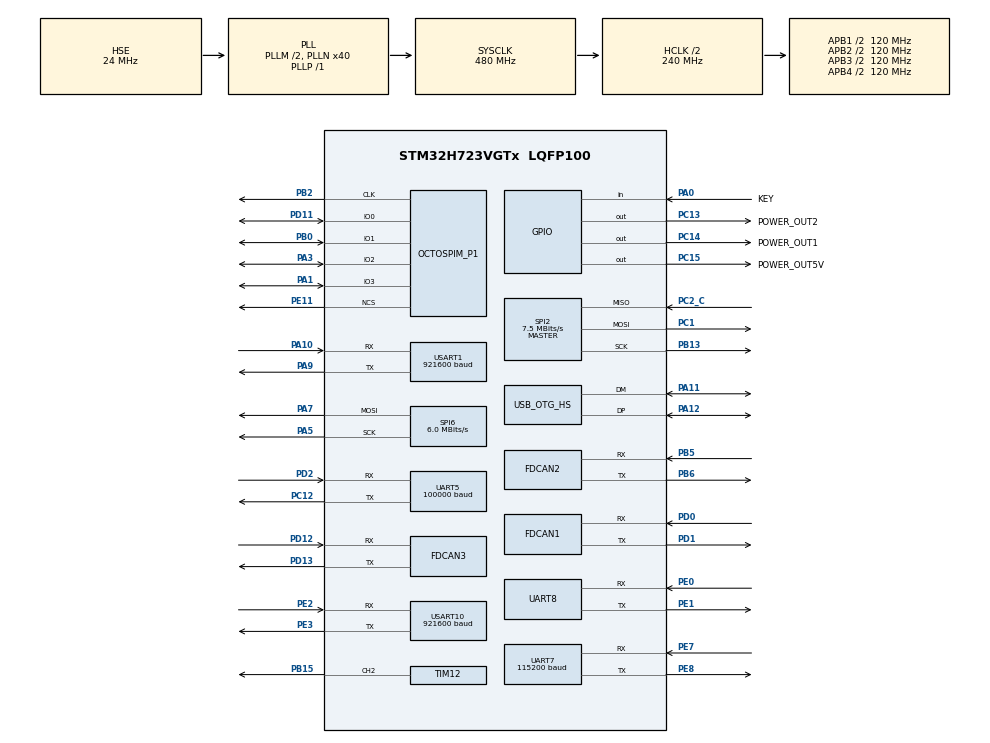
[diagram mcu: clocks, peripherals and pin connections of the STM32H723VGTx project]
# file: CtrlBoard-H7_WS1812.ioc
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Dma.Request0=UART7_RX
Dma.Request1=UART7_TX
Dma.Request2=USART1_RX
Dma.Request3=USART1_TX
Dma.Request4=UART5_RX
Dma.Request5=SPI2_RX
Dma.Request6=SPI2_TX
Dma.Request7=USART10_RX
Dma.Request8=USART10_TX
Dma.Request9=UART8_TX
Dma.SPI2_RX.5.Direction=DMA_PERIPH_TO_MEMORY
Dma.SPI2_RX.5.EventEnable=DISABLE
Dma.SPI2_RX.5.FIFOMode=DMA_FIFOMODE_DISABLE
Dma.SPI2_RX.5.Instance=DMA1_Stream0
Dma.SPI2_RX.5.MemDataAlignment=DMA_MDATAALIGN_BYTE
Dma.SPI2_RX.5.MemInc=DMA_MINC_ENABLE
Dma.SPI2_RX.5.Mode=DMA_NORMAL
Dma.SPI2_RX.5.PeriphDataAlignment=DMA_PDATAALIGN_BYTE
Dma.SPI2_RX.5.PeriphInc=DMA_PINC_DISABLE
Dma.SPI2_RX.5.Polarity=HAL_DMAMUX_REQ_GEN_RISING
Dma.SPI2_RX.5.Priority=DMA_PRIORITY_VERY_HIGH
Dma.SPI2_RX.5.RequestNumber=1
Dma.SPI2_RX.5.SignalID=NONE
Dma.SPI2_RX.5.SyncEnable=DISABLE
Dma.SPI2_RX.5.SyncPolarity=HAL_DMAMUX_SYNC_NO_EVENT
Dma.SPI2_RX.5.SyncRequestNumber=1
Dma.SPI2_RX.5.SyncSignalID=NONE
Dma.SPI2_TX.6.Direction=DMA_MEMORY_TO_PERIPH
Dma.SPI2_TX.6.EventEnable=DISABLE
Dma.SPI2_TX.6.FIFOMode=DMA_FIFOMODE_DISABLE
Dma.SPI2_TX.6.Instance=DMA1_Stream1
Dma.SPI2_TX.6.MemDataAlignment=DMA_MDATAALIGN_BYTE
Dma.SPI2_TX.6.MemInc=DMA_MINC_ENABLE
Dma.SPI2_TX.6.Mode=DMA_NORMAL
Dma.SPI2_TX.6.PeriphDataAlignment=DMA_PDATAALIGN_BYTE
Dma.SPI2_TX.6.PeriphInc=DMA_PINC_DISABLE
Dma.SPI2_TX.6.Polarity=HAL_DMAMUX_REQ_GEN_RISING
Dma.SPI2_TX.6.Priority=DMA_PRIORITY_HIGH
Dma.SPI2_TX.6.RequestNumber=1
Dma.SPI2_TX.6.SignalID=NONE
Dma.SPI2_TX.6.SyncEnable=DISABLE
Dma.SPI2_TX.6.SyncPolarity=HAL_DMAMUX_SYNC_NO_EVENT
Dma.SPI2_TX.6.SyncRequestNumber=1
Dma.SPI2_TX.6.SyncSignalID=NONE
Dma.UART5_RX.4.Direction=DMA_PERIPH_TO_MEMORY
Dma.UART5_RX.4.EventEnable=DISABLE
Dma.UART5_RX.4.FIFOMode=DMA_FIFOMODE_DISABLE
Dma.UART5_RX.4.Instance=DMA1_Stream4
Dma.UART5_RX.4.MemDataAlignment=DMA_MDATAALIGN_BYTE
Dma.UART5_RX.4.MemInc=DMA_MINC_ENABLE
Dma.UART5_RX.4.Mode=DMA_NORMAL
Dma.UART5_RX.4.PeriphDataAlignment=DMA_PDATAALIGN_BYTE
Dma.UART5_RX.4.PeriphInc=DMA_PINC_DISABLE
Dma.UART5_RX.4.Polarity=HAL_DMAMUX_REQ_GEN_RISING
Dma.UART5_RX.4.Priority=DMA_PRIORITY_VERY_HIGH
Dma.UART5_RX.4.RequestNumber=1
Dma.UART5_RX.4.SignalID=NONE
Dma.UART5_RX.4.SyncEnable=DISABLE
Dma.UART5_RX.4.SyncPolarity=HAL_DMAMUX_SYNC_NO_EVENT
Dma.UART5_RX.4.SyncRequestNumber=1
Dma.UART5_RX.4.SyncSignalID=NONE
Dma.UART7_RX.0.Direction=DMA_PERIPH_TO_MEMORY
Dma.UART7_RX.0.EventEnable=DISABLE
Dma.UART7_RX.0.FIFOMode=DMA_FIFOMODE_DISABLE
Dma.UART7_RX.0.Instance=DMA2_Stream0
Dma.UART7_RX.0.MemDataAlignment=DMA_MDATAALIGN_BYTE
Dma.UART7_RX.0.MemInc=DMA_MINC_ENABLE
Dma.UART7_RX.0.Mode=DMA_NORMAL
Dma.UART7_RX.0.PeriphDataAlignment=DMA_PDATAALIGN_BYTE
Dma.UART7_RX.0.PeriphInc=DMA_PINC_DISABLE
Dma.UART7_RX.0.Polarity=HAL_DMAMUX_REQ_GEN_RISING
Dma.UART7_RX.0.Priority=DMA_PRIORITY_HIGH
Dma.UART7_RX.0.RequestNumber=1
Dma.UART7_RX.0.SignalID=NONE
Dma.UART7_RX.0.SyncEnable=DISABLE
Dma.UART7_RX.0.SyncPolarity=HAL_DMAMUX_SYNC_NO_EVENT
Dma.UART7_RX.0.SyncRequestNumber=1
Dma.UART7_RX.0.SyncSignalID=NONE
Dma.UART7_TX.1.Direction=DMA_MEMORY_TO_PERIPH
Dma.UART7_TX.1.EventEnable=DISABLE
Dma.UART7_TX.1.FIFOMode=DMA_FIFOMODE_DISABLE
Dma.UART7_TX.1.Instance=DMA1_Stream2
Dma.UART7_TX.1.MemDataAlignment=DMA_MDATAALIGN_BYTE
Dma.UART7_TX.1.MemInc=DMA_MINC_ENABLE
Dma.UART7_TX.1.Mode=DMA_NORMAL
Dma.UART7_TX.1.PeriphDataAlignment=DMA_PDATAALIGN_BYTE
Dma.UART7_TX.1.PeriphInc=DMA_PINC_DISABLE
Dma.UART7_TX.1.Polarity=HAL_DMAMUX_REQ_GEN_RISING
Dma.UART7_TX.1.Priority=DMA_PRIORITY_MEDIUM
Dma.UART7_TX.1.RequestNumber=1
Dma.UART7_TX.1.SignalID=NONE
Dma.UART7_TX.1.SyncEnable=DISABLE
Dma.UART7_TX.1.SyncPolarity=HAL_DMAMUX_SYNC_NO_EVENT
Dma.UART7_TX.1.SyncRequestNumber=1
Dma.UART7_TX.1.SyncSignalID=NONE
Dma.UART8_TX.9.Direction=DMA_MEMORY_TO_PERIPH
Dma.UART8_TX.9.EventEnable=DISABLE
Dma.UART8_TX.9.FIFOMode=DMA_FIFOMODE_DISABLE
Dma.UART8_TX.9.Instance=DMA1_Stream7
Dma.UART8_TX.9.MemDataAlignment=DMA_MDATAALIGN_BYTE
Dma.UART8_TX.9.MemInc=DMA_MINC_ENABLE
Dma.UART8_TX.9.Mode=DMA_NORMAL
Dma.UART8_TX.9.PeriphDataAlignment=DMA_PDATAALIGN_BYTE
Dma.UART8_TX.9.PeriphInc=DMA_PINC_DISABLE
Dma.UART8_TX.9.Polarity=HAL_DMAMUX_REQ_GEN_RISING
Dma.UART8_TX.9.Priority=DMA_PRIORITY_LOW
Dma.UART8_TX.9.RequestNumber=1
Dma.UART8_TX.9.SignalID=NONE
Dma.UART8_TX.9.SyncEnable=DISABLE
Dma.UART8_TX.9.SyncPolarity=HAL_DMAMUX_SYNC_NO_EVENT
Dma.UART8_TX.9.SyncRequestNumber=1
Dma.UART8_TX.9.SyncSignalID=NONE
Dma.USART10_RX.7.Direction=DMA_PERIPH_TO_MEMORY
Dma.USART10_RX.7.EventEnable=DISABLE
Dma.USART10_RX.7.FIFOMode=DMA_FIFOMODE_DISABLE
Dma.USART10_RX.7.Instance=DMA1_Stream5
Dma.USART10_RX.7.MemDataAlignment=DMA_MDATAALIGN_BYTE
Dma.USART10_RX.7.MemInc=DMA_MINC_ENABLE
Dma.USART10_RX.7.Mode=DMA_NORMAL
Dma.USART10_RX.7.PeriphDataAlignment=DMA_PDATAALIGN_BYTE
Dma.USART10_RX.7.PeriphInc=DMA_PINC_DISABLE
Dma.USART10_RX.7.Polarity=HAL_DMAMUX_REQ_GEN_RISING
Dma.USART10_RX.7.Priority=DMA_PRIORITY_HIGH
Dma.USART10_RX.7.RequestNumber=1
Dma.USART10_RX.7.SignalID=NONE
Dma.USART10_RX.7.SyncEnable=DISABLE
Dma.USART10_RX.7.SyncPolarity=HAL_DMAMUX_SYNC_NO_EVENT
Dma.USART10_RX.7.SyncRequestNumber=1
Dma.USART10_RX.7.SyncSignalID=NONE
Dma.USART10_TX.8.Direction=DMA_MEMORY_TO_PERIPH
Dma.USART10_TX.8.EventEnable=DISABLE
Dma.USART10_TX.8.FIFOMode=DMA_FIFOMODE_DISABLE
Dma.USART10_TX.8.Instance=DMA1_Stream6
Dma.USART10_TX.8.MemDataAlignment=DMA_MDATAALIGN_BYTE
Dma.USART10_TX.8.MemInc=DMA_MINC_ENABLE
Dma.USART10_TX.8.Mode=DMA_NORMAL
Dma.USART10_TX.8.PeriphDataAlignment=DMA_PDATAALIGN_BYTE
Dma.USART10_TX.8.PeriphInc=DMA_PINC_DISABLE
Dma.USART10_TX.8.Polarity=HAL_DMAMUX_REQ_GEN_RISING
Dma.USART10_TX.8.Priority=DMA_PRIORITY_MEDIUM
Dma.USART10_TX.8.RequestNumber=1
Dma.USART10_TX.8.SignalID=NONE
Dma.USART10_TX.8.SyncEnable=DISABLE
Dma.USART10_TX.8.SyncPolarity=HAL_DMAMUX_SYNC_NO_EVENT
Dma.USART10_TX.8.SyncRequestNumber=1
Dma.USART10_TX.8.SyncSignalID=NONE
Dma.USART1_RX.2.Direction=DMA_PERIPH_TO_MEMORY
Dma.USART1_RX.2.EventEnable=DISABLE
Dma.USART1_RX.2.FIFOMode=DMA_FIFOMODE_DISABLE
Dma.USART1_RX.2.Instance=DMA2_Stream1
Dma.USART1_RX.2.MemDataAlignment=DMA_MDATAALIGN_BYTE
Dma.USART1_RX.2.MemInc=DMA_MINC_ENABLE
Dma.USART1_RX.2.Mode=DMA_NORMAL
Dma.USART1_RX.2.PeriphDataAlignment=DMA_PDATAALIGN_BYTE
Dma.USART1_RX.2.PeriphInc=DMA_PINC_DISABLE
Dma.USART1_RX.2.Polarity=HAL_DMAMUX_REQ_GEN_RISING
Dma.USART1_RX.2.Priority=DMA_PRIORITY_LOW
Dma.USART1_RX.2.RequestNumber=1
Dma.USART1_RX.2.SignalID=NONE
Dma.USART1_RX.2.SyncEnable=DISABLE
Dma.USART1_RX.2.SyncPolarity=HAL_DMAMUX_SYNC_NO_EVENT
Dma.USART1_RX.2.SyncRequestNumber=1
Dma.USART1_RX.2.SyncSignalID=NONE
Dma.USART1_TX.3.Direction=DMA_MEMORY_TO_PERIPH
Dma.USART1_TX.3.EventEnable=DISABLE
Dma.USART1_TX.3.FIFOMode=DMA_FIFOMODE_DISABLE
Dma.USART1_TX.3.Instance=DMA1_Stream3
Dma.USART1_TX.3.MemDataAlignment=DMA_MDATAALIGN_BYTE
Dma.USART1_TX.3.MemInc=DMA_MINC_ENABLE
Dma.USART1_TX.3.Mode=DMA_NORMAL
Dma.USART1_TX.3.PeriphDataAlignment=DMA_PDATAALIGN_BYTE
Dma.USART1_TX.3.PeriphInc=DMA_PINC_DISABLE
Dma.USART1_TX.3.Polarity=HAL_DMAMUX_REQ_GEN_RISING
Dma.USART1_TX.3.Priority=DMA_PRIORITY_LOW
Dma.USART1_TX.3.RequestNumber=1
Dma.USART1_TX.3.SignalID=NONE
Dma.USART1_TX.3.SyncEnable=DISABLE
Dma.USART1_TX.3.SyncPolarity=HAL_DMAMUX_SYNC_NO_EVENT
Dma.USART1_TX.3.SyncRequestNumber=1
Dma.USART1_TX.3.SyncSignalID=NONE
FDCAN1.AutoRetransmission=DISABLE
FDCAN1.CalculateBaudRateNominal=1000000
FDCAN1.CalculateTimeBitNominal=1000
FDCAN1.CalculateTimeQuantumNominal=40.0
FDCAN1.DataPrescaler=3
FDCAN1.DataSyncJumpWidth=10
FDCAN1.DataTimeSeg1=29
FDCAN1.DataTimeSeg2=10
FDCAN1.ExtFiltersNbr=0
FDCAN1.FrameFormat=FDCAN_FRAME_CLASSIC
FDCAN1.NominalPrescaler=4
FDCAN1.NominalSyncJumpWidth=10
FDCAN1.NominalTimeSeg1=19
FDCAN1.NominalTimeSeg2=5
FDCAN1.ProtocolException=ENABLE
FDCAN1.RxBuffersNbr=0
FDCAN1.RxFifo0ElmtsNbr=8
FDCAN1.RxFifo1ElmtsNbr=0
FDCAN1.StdFiltersNbr=1
FDCAN1.TxBuffersNbr=0
FDCAN1.TxEventsNbr=0
FDCAN1.TxFifoQueueElmtsNbr=8
FDCAN2.AutoRetransmission=DISABLE
FDCAN2.CalculateBaudRateNominal=1000000
FDCAN2.CalculateTimeBitNominal=1000
FDCAN2.CalculateTimeQuantumNominal=50.0
FDCAN2.DataPrescaler=5
FDCAN2.DataSyncJumpWidth=1
FDCAN2.DataTimeSeg1=14
FDCAN2.DataTimeSeg2=5
FDCAN2.ExtFiltersNbr=0
FDCAN2.MessageRAMOffset=854
FDCAN2.Mode=FDCAN_MODE_NORMAL
FDCAN2.NominalPrescaler=5
FDCAN2.NominalSyncJumpWidth=1
FDCAN2.NominalTimeSeg1=14
FDCAN2.NominalTimeSeg2=5
FDCAN2.ProtocolException=DISABLE
FDCAN2.RxBuffersNbr=0
FDCAN2.RxFifo0ElmtsNbr=8
FDCAN2.RxFifo1ElmtsNbr=8
FDCAN2.StdFiltersNbr=5
FDCAN2.TxBuffersNbr=0
FDCAN2.TxElmtSize=FDCAN_DATA_BYTES_16
FDCAN2.TxEventsNbr=0
FDCAN2.TxFifoQueueElmtsNbr=8
FDCAN3.AutoRetransmission=DISABLE
FDCAN3.CalculateBaudRateNominal=1000000
FDCAN3.CalculateTimeBitNominal=1000
FDCAN3.CalculateTimeQuantumNominal=50.0
FDCAN3.DataSyncJumpWidth=1
FDCAN3.DataTimeSeg1=14
FDCAN3.DataTimeSeg2=5
FDCAN3.ExtFiltersNbr=0
FDCAN3.MessageRAMOffset=0x812
FDCAN3.NominalPrescaler=5
FDCAN3.NominalSyncJumpWidth=1
FDCAN3.NominalTimeSeg1=14
FDCAN3.NominalTimeSeg2=5
FDCAN3.ProtocolException=DISABLE
FDCAN3.RxBuffersNbr=0
FDCAN3.RxFifo0ElmtsNbr=8
FDCAN3.RxFifo1ElmtsNbr=8
FDCAN3.StdFiltersNbr=1
FDCAN3.TxBuffersNbr=0
FDCAN3.TxEventsNbr=0
FDCAN3.TxFifoQueueElmtsNbr=8
FREERTOS.Tasks01=defaultTask,24,128,StartDefaultTask,Default,NULL,Dynamic,NULL,NULL
FREERTOS.configENABLE_FPU=1
Mcu.Family=STM32H7
Mcu.Name=STM32H723VGTx
Mcu.Package=LQFP100
NVIC.DMA1_Stream0_IRQn=true\:5\:0\:false\:false\:true\:true\:true\:true\:true
NVIC.DMA1_Stream1_IRQn=true\:5\:0\:false\:false\:true\:true\:true\:true\:true
NVIC.DMA1_Stream2_IRQn=true\:5\:0\:false\:false\:true\:true\:true\:true\:true
NVIC.DMA1_Stream3_IRQn=true\:5\:0\:false\:false\:true\:true\:true\:true\:true
NVIC.DMA1_Stream4_IRQn=true\:5\:0\:false\:false\:true\:true\:true\:true\:true
NVIC.DMA1_Stream5_IRQn=true\:5\:0\:false\:false\:true\:true\:true\:true\:true
NVIC.DMA1_Stream6_IRQn=true\:5\:0\:false\:false\:true\:true\:true\:true\:true
NVIC.DMA1_Stream7_IRQn=true\:5\:0\:false\:false\:true\:true\:true\:true\:true
NVIC.DMA2_Stream0_IRQn=true\:5\:0\:false\:false\:true\:true\:false\:true\:true
NVIC.DMA2_Stream1_IRQn=true\:5\:0\:false\:false\:true\:true\:false\:true\:true
NVIC.FDCAN1_IT0_IRQn=true\:5\:0\:true\:false\:true\:true\:true\:true\:true
NVIC.FDCAN1_IT1_IRQn=true\:5\:0\:false\:false\:true\:true\:true\:true\:true
NVIC.FDCAN2_IT0_IRQn=true\:5\:0\:false\:false\:true\:true\:true\:true\:true
NVIC.FDCAN2_IT1_IRQn=true\:5\:0\:false\:false\:true\:true\:true\:true\:true
NVIC.FDCAN3_IT0_IRQn=true\:5\:0\:false\:false\:true\:true\:true\:true\:true
NVIC.FDCAN3_IT1_IRQn=true\:5\:0\:false\:false\:true\:true\:true\:true\:true
NVIC.OTG_HS_IRQn=true\:5\:0\:false\:false\:true\:true\:true\:true\:true
NVIC.PriorityGroup=NVIC_PRIORITYGROUP_4
NVIC.SPI2_IRQn=true\:5\:0\:false\:false\:true\:true\:true\:true\:true
NVIC.TIM23_IRQn=true\:15\:0\:false\:false\:true\:false\:false\:true\:true
NVIC.TIM24_IRQn=true\:5\:0\:false\:false\:true\:true\:true\:true\:true
NVIC.TIM6_DAC_IRQn=true\:5\:0\:false\:false\:true\:true\:true\:true\:true
NVIC.TimeBase=TIM23_IRQn
NVIC.TimeBaseIP=TIM23
NVIC.UART5_IRQn=true\:5\:0\:false\:false\:true\:true\:true\:true\:true
NVIC.UART7_IRQn=true\:5\:0\:false\:false\:true\:true\:true\:true\:true
NVIC.UART8_IRQn=true\:5\:0\:false\:false\:true\:true\:true\:true\:true
NVIC.USART10_IRQn=true\:5\:0\:false\:false\:true\:true\:true\:true\:true
NVIC.USART1_IRQn=true\:5\:0\:false\:false\:true\:true\:true\:true\:true
OCTOSPI2.ClockMode=HAL_OSPI_CLOCK_MODE_3
OCTOSPI2.ClockPrescaler=3
OCTOSPI2.DeviceSize=23
OCTOSPI2.FifoThreshold=8
OCTOSPI2.SampleShifting=HAL_OSPI_SAMPLE_SHIFTING_HALFCYCLE
PA0.GPIO_Label=KEY
PA0.GPIO_PuPd=GPIO_PULLUP
PA0.Signal=GPIO_Input
PA1.Mode=OCTOSPI2_IOL_Port1L
PA1.Signal=OCTOSPIM_P1_IO3
PA10.Mode=Asynchronous
PA10.Signal=USART1_RX
PA11.Mode=Device_Only_FS
PA11.Signal=USB_OTG_HS_DM
PA12.Mode=Device_Only_FS
PA12.Signal=USB_OTG_HS_DP
PA13(JTMS/SWDIO).Mode=Serial_Wire
PA13(JTMS/SWDIO).Signal=DEBUG_JTMS-SWDIO
PA14(JTCK/SWCLK).Mode=Serial_Wire
PA14(JTCK/SWCLK).Signal=DEBUG_JTCK-SWCLK
PA3.Mode=OCTOSPI2_IOL_Port1L
PA3.Signal=OCTOSPIM_P1_IO2
PA5.GPIO_Speed=GPIO_SPEED_FREQ_VERY_HIGH
PA5.Mode=TX_Only_Simplex_Unidirect_Master
PA5.Signal=SPI6_SCK
PA7.GPIO_Speed=GPIO_SPEED_FREQ_VERY_HIGH
PA7.Mode=TX_Only_Simplex_Unidirect_Master
PA7.Signal=SPI6_MOSI
PA9.Mode=Asynchronous
PA9.Signal=USART1_TX
PB0.Mode=OCTOSPI2_IOL_Port1L
PB0.Signal=OCTOSPIM_P1_IO1
PB13.GPIO_Speed=GPIO_SPEED_FREQ_VERY_HIGH
PB13.Mode=Full_Duplex_Master
PB13.Signal=SPI2_SCK
PB15.Signal=S_TIM12_CH2
PB2.Mode=O2_P1_CLK
PB2.Signal=OCTOSPIM_P1_CLK
PB5.Mode=FDCAN_Activate
PB5.Signal=FDCAN2_RX
PB6.Mode=FDCAN_Activate
PB6.Signal=FDCAN2_TX
PC1.GPIO_Speed=GPIO_SPEED_FREQ_VERY_HIGH
PC1.Mode=Full_Duplex_Master
PC1.Signal=SPI2_MOSI
PC12.Mode=Asynchronous
PC12.Signal=UART5_TX
PC13.GPIO_Label=POWER_OUT2
PC13.PinState=GPIO_PIN_SET
PC13.Signal=GPIO_Output
PC14-OSC32_IN.GPIO_Label=POWER_OUT1
PC14-OSC32_IN.PinState=GPIO_PIN_SET
PC14-OSC32_IN.Signal=GPIO_Output
PC15-OSC32_OUT.GPIO_Label=POWER_OUT5V
PC15-OSC32_OUT.PinState=GPIO_PIN_SET
PC15-OSC32_OUT.Signal=GPIO_Output
PC2_C.GPIO_Speed=GPIO_SPEED_FREQ_VERY_HIGH
PC2_C.Mode=Full_Duplex_Master
PC2_C.Signal=SPI2_MISO
PD0.Mode=FDCAN_Activate
PD0.Signal=FDCAN1_RX
PD1.Mode=FDCAN_Activate
PD1.Signal=FDCAN1_TX
PD11.Mode=OCTOSPI2_IOL_Port1L
PD11.Signal=OCTOSPIM_P1_IO0
PD12.Mode=FDCAN_Activate
PD12.Signal=FDCAN3_RX
PD13.Mode=FDCAN_Activate
PD13.Signal=FDCAN3_TX
PD2.Mode=Asynchronous
PD2.Signal=UART5_RX
PE0.Mode=Asynchronous
PE0.Signal=UART8_RX
PE1.Mode=Asynchronous
PE1.Signal=UART8_TX
PE11.Mode=OCTOSPI2_Port1_NCS
PE11.Signal=OCTOSPIM_P1_NCS
PE2.Mode=Asynchronous
PE2.Signal=USART10_RX
PE3.Mode=Asynchronous
PE3.Signal=USART10_TX
PE7.Mode=Asynchronous
PE7.Signal=UART7_RX
PE8.Mode=Asynchronous
PE8.Signal=UART7_TX
PH0-OSC_IN.Mode=HSE-External-Oscillator
PH0-OSC_IN.Signal=RCC_OSC_IN
PH1-OSC_OUT.Mode=HSE-External-Oscillator
PH1-OSC_OUT.Signal=RCC_OSC_OUT
ProjectManager.HeapSize=0x200
ProjectManager.StackSize=0x800
ProjectManager.TargetToolchain=MDK-ARM V5.27
RCC.ADCFreq_Value=100000000
RCC.APB1Freq_Value=120000000
RCC.APB2Freq_Value=120000000
RCC.APB3Freq_Value=120000000
RCC.APB4Freq_Value=120000000
RCC.CortexFreq_Value=480000000
RCC.D1PPRE=RCC_APB3_DIV2
RCC.D2PPRE1=RCC_APB1_DIV2
RCC.D2PPRE2=RCC_APB2_DIV2
RCC.D3PPRE=RCC_APB4_DIV2
RCC.DIVM1=2
RCC.DIVM2=24
RCC.DIVN1=40
RCC.DIVN2=200
RCC.DIVP1=1
RCC.FDCANCLockSelection=RCC_FDCANCLKSOURCE_PLL2
RCC.HCLKFreq_Value=240000000
RCC.HPRE=RCC_HCLK_DIV2
RCC.HSE_VALUE=24000000
RCC.PLL2FRACN=0
RCC.PLL3FRACN=0
RCC.PLLFRACN=0
RCC.PLLSourceVirtual=RCC_PLLSOURCE_HSE
RCC.SPI6CLockSelection=RCC_SPI6CLKSOURCE_HSE
RCC.SYSCLKFreq_VALUE=480000000
RCC.SYSCLKSource=RCC_SYSCLKSOURCE_PLLCLK
RCC.USBCLockSelection=RCC_USBCLKSOURCE_HSI48
RCC.USBFreq_Value=48000000
SH.S_TIM12_CH2.0=TIM12_CH2,PWM Generation2 CH2
SPI2.BaudRatePrescaler=SPI_BAUDRATEPRESCALER_32
SPI2.CLKPhase=SPI_PHASE_2EDGE
SPI2.CLKPolarity=SPI_POLARITY_HIGH
SPI2.CalculateBaudRate=7.5 MBits/s
SPI2.DataSize=SPI_DATASIZE_8BIT
SPI2.Direction=SPI_DIRECTION_2LINES
SPI2.Mode=SPI_MODE_MASTER
SPI2.VirtualType=VM_MASTER
SPI6.BaudRatePrescaler=SPI_BAUDRATEPRESCALER_4
SPI6.CLKPhase=SPI_PHASE_2EDGE
SPI6.CLKPolarity=SPI_POLARITY_LOW
SPI6.CalculateBaudRate=6.0 MBits/s
SPI6.DataSize=SPI_DATASIZE_8BIT
SPI6.Direction=SPI_DIRECTION_2LINES_TXONLY
SPI6.Mode=SPI_MODE_MASTER
SPI6.VirtualType=VM_MASTER
TIM12.Channel-PWM\ Generation2\ CH2=TIM_CHANNEL_2
TIM12.Period=2000-1
TIM12.Prescaler=240-1
TIM24.AutoReloadPreload=TIM_AUTORELOAD_PRELOAD_ENABLE
TIM24.Prescaler=239
TIM6.Period=1000
TIM6.Prescaler=240
UART5.BaudRate=100000
UART5.Parity=PARITY_EVEN
UART5.StopBits=UART_STOPBITS_2
UART5.WordLength=WORDLENGTH_9B
UART7.BaudRate=115200
USART1.BaudRate=921600
USART1.VirtualMode-Asynchronous=VM_ASYNC
USART10.BaudRate=921600
USART10.VirtualMode=VM_ASYNC
USB_DEVICE.CLASS_NAME_HS=CDC
USB_DEVICE.VirtualMode=Cdc
USB_DEVICE.VirtualModeHS=Cdc_HS
USB_OTG_HS.VirtualMode-Device_Only_FS=Device_Only_FS
VP_FREERTOS_VS_CMSIS_V2.Mode=CMSIS_V2
VP_MEMORYMAP_VS_MEMORYMAP.Mode=CurAppReg
VP_OCTOSPI2_VS_quad.Mode=quad_mode
VP_SYS_VS_tim23.Mode=TIM23
VP_TIM24_VS_ClockSourceINT.Mode=Internal
VP_TIM6_VS_ClockSourceINT.Mode=Enable_Timer
VP_USB_DEVICE_VS_USB_DEVICE_CDC_HS.Mode=CDC_HS
board=custom

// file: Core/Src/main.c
/* USER CODE BEGIN Header */
/**
  ******************************************************************************
  * @file           : main.c
  * @brief          : Main program body
  ******************************************************************************
  * @attention
  *
  * Copyright (c) 2024 STMicroelectronics.
  * All rights reserved.
  *
  * This software is licensed under terms that can be found in the LICENSE file
  * in the root directory of this software component.
  * If no LICENSE file comes with this software, it is provided AS-IS.
  *
  ******************************************************************************
  */
/* USER CODE END Header */
#include "main.h"
#include "FreeRTOS.h"
#include "cmsis_os2.h"
#include "dma.h"
#include "fdcan.h"
#include "octospi.h"
#include "spi.h"
#include "tim.h"
#include "usart.h"
#include "usb_device.h"
#include "gpio.h"

/* USER CODE BEGIN Includes */
#include "bsp_fdcan.h"
#include "bsp_usart.h"
#include "string.h"
#include "ws2812.h"
#include "safewarning.h"
#include "uproto.h"
#include "usb_cdc_port.h"
#include "bsp_tim24.h"
/* USER CODE END Includes */

/* USER CODE BEGIN PD */
#define DEBUG 1		//调试模式
/* USER CODE END PD */

/* USER CODE BEGIN PV */
uint8_t uart1_rebuffer[10];

uint8_t can2send_test[8] = {0xff,0xff,0xff,0xff,0xff,0xff,0x00,0xfd};

uint16_t tim6_tick = 0;
uint16_t datapack_ordorcount = 0;
/* USER CODE END PV */

void SystemClock_Config(void);
void PeriphCommonClock_Config(void);
void MX_FREERTOS_Init(void);
/* USER CODE BEGIN PFP */
void proto_init_from_main(void);
/* USER CODE END PFP */

/* USER CODE BEGIN 0 */
uproto_context_t proto_ctx;

/* USER CODE END 0 */

int main(void)
{

  /* MCU Configuration--------------------------------------------------------*/

  /* Reset of all peripherals, Initializes the Flash interface and the Systick. */
  HAL_Init();

  /* Configure the system clock */
  SystemClock_Config();

  /* Configure the peripherals common clocks */
  PeriphCommonClock_Config();

  /* Initialize all configured peripherals */
  MX_GPIO_Init();
  MX_DMA_Init();
  MX_SPI6_Init();
  MX_USART1_UART_Init();
  MX_UART7_Init();
  MX_FDCAN1_Init();
  MX_TIM6_Init();
  MX_FDCAN2_Init();
  MX_TIM12_Init();
  MX_FDCAN3_Init();
  MX_UART5_Init();
  MX_USART10_UART_Init();
  MX_SPI2_Init();
  MX_TIM24_Init();
  MX_UART8_Init();
  MX_OCTOSPI2_Init();
  /* USER CODE BEGIN 2 */
//  	Servo_Mapping_Init();
	bsp_can_init();

	HAL_UARTEx_ReceiveToIdle_DMA(&huart1, usart1_buf[0], USART_RX_BUF_LENGHT);
	HAL_UARTEx_ReceiveToIdle_DMA(&huart5, remote_buff, SBUS_RX_BUF_NUM);
	HAL_UARTEx_ReceiveToIdle_DMA(&huart7, usart7_buf, sizeof(usart7_buf));
	HAL_UARTEx_ReceiveToIdle_DMA(&huart10, usart10_buf, sizeof(usart10_buf));

	HAL_Delay (1000);
	tim24_timebase_init();
	proto_init_from_main();
//	HAL_TIM_Base_Start_IT(&htim6);
	// 播放开机提示音

	/*CAN独立指令发送*/
	#if DEBUG
//	Motor_save_zero(&hfdcan2, 0x01);
//	Motor_MIT_MODE(&hfdcan2, 0x02);
//	fdcanx_send_data(&hfdcan2, 0x02,can2send_test, 8);
	#endif
  /* USER CODE END 2 */

  /* Init scheduler */
  osKernelInitialize();  /* Call init function for freertos objects (in cmsis_os2.c) */
  MX_FREERTOS_Init();

  /* Start scheduler */
  osKernelStart();

  /* We should never get here as control is now taken by the scheduler */

  /* Infinite loop */
  while (1)
  {

  }
}

void SystemClock_Config(void)
{
  RCC_OscInitTypeDef RCC_OscInitStruct = {0};
  RCC_ClkInitTypeDef RCC_ClkInitStruct = {0};

  /** Supply configuration update enable
  */
  HAL_PWREx_ConfigSupply(PWR_LDO_SUPPLY);

  /** Configure the main internal regulator output voltage
  */
  __HAL_PWR_VOLTAGESCALING_CONFIG(PWR_REGULATOR_VOLTAGE_SCALE0);

  while(!__HAL_PWR_GET_FLAG(PWR_FLAG_VOSRDY)) {}

  /** Initializes the RCC Oscillators according to the specified parameters
  * in the RCC_OscInitTypeDef structure.
  */
  RCC_OscInitStruct.OscillatorType = RCC_OSCILLATORTYPE_HSI48|RCC_OSCILLATORTYPE_HSE;
  RCC_OscInitStruct.HSEState = RCC_HSE_ON;
  RCC_OscInitStruct.HSI48State = RCC_HSI48_ON;
  RCC_OscInitStruct.PLL.PLLState = RCC_PLL_ON;
  RCC_OscInitStruct.PLL.PLLSource = RCC_PLLSOURCE_HSE;
  RCC_OscInitStruct.PLL.PLLM = 2;
  RCC_OscInitStruct.PLL.PLLN = 40;
  RCC_OscInitStruct.PLL.PLLP = 1;
  RCC_OscInitStruct.PLL.PLLQ = 2;
  RCC_OscInitStruct.PLL.PLLR = 2;
  RCC_OscInitStruct.PLL.PLLRGE = RCC_PLL1VCIRANGE_3;
  RCC_OscInitStruct.PLL.PLLVCOSEL = RCC_PLL1VCOWIDE;
  RCC_OscInitStruct.PLL.PLLFRACN = 0;
  if (HAL_RCC_OscConfig(&RCC_OscInitStruct) != HAL_OK)
  {
    Error_Handler();
  }

  /** Initializes the CPU, AHB and APB buses clocks
  */
  RCC_ClkInitStruct.ClockType = RCC_CLOCKTYPE_HCLK|RCC_CLOCKTYPE_SYSCLK
                              |RCC_CLOCKTYPE_PCLK1|RCC_CLOCKTYPE_PCLK2
                              |RCC_CLOCKTYPE_D3PCLK1|RCC_CLOCKTYPE_D1PCLK1;
  RCC_ClkInitStruct.SYSCLKSource = RCC_SYSCLKSOURCE_PLLCLK;
  RCC_ClkInitStruct.SYSCLKDivider = RCC_SYSCLK_DIV1;
  RCC_ClkInitStruct.AHBCLKDivider = RCC_HCLK_DIV2;
  RCC_ClkInitStruct.APB3CLKDivider = RCC_APB3_DIV2;
  RCC_ClkInitStruct.APB1CLKDivider = RCC_APB1_DIV2;
  RCC_ClkInitStruct.APB2CLKDivider = RCC_APB2_DIV2;
  RCC_ClkInitStruct.APB4CLKDivider = RCC_APB4_DIV2;

  if (HAL_RCC_ClockConfig(&RCC_ClkInitStruct, FLASH_LATENCY_3) != HAL_OK)
  {
    Error_Handler();
  }
}

void PeriphCommonClock_Config(void)
{
  RCC_PeriphCLKInitTypeDef PeriphClkInitStruct = {0};

  /** Initializes the peripherals clock
  */
  PeriphClkInitStruct.PeriphClockSelection = RCC_PERIPHCLK_FDCAN;
  PeriphClkInitStruct.PLL2.PLL2M = 24;
  PeriphClkInitStruct.PLL2.PLL2N = 200;
  PeriphClkInitStruct.PLL2.PLL2P = 2;
  PeriphClkInitStruct.PLL2.PLL2Q = 2;
  PeriphClkInitStruct.PLL2.PLL2R = 2;
  PeriphClkInitStruct.PLL2.PLL2RGE = RCC_PLL2VCIRANGE_0;
  PeriphClkInitStruct.PLL2.PLL2VCOSEL = RCC_PLL2VCOMEDIUM;
  PeriphClkInitStruct.PLL2.PLL2FRACN = 0;
  PeriphClkInitStruct.FdcanClockSelection = RCC_FDCANCLKSOURCE_PLL2;
  if (HAL_RCCEx_PeriphCLKConfig(&PeriphClkInitStruct) != HAL_OK)
  {
    Error_Handler();
  }
}

/* USER CODE BEGIN 4 */

static uint32_t proto_time_now(void *user)
{
  (void)user;
  return HAL_GetTick();
}

void proto_init_from_main(void)
{
  uproto_port_ops_t port_ops;
  usb_cdc_port_get_ops(&port_ops);

  uproto_time_ops_t time_ops = {
    .now_ms = proto_time_now,
    .user = NULL,
  };

  uproto_config_t cfg = {
    .handshake_timeout_ms = 0,
    .heartbeat_interval_ms = 0,
    .default_timeout_ms = 3000,
    .default_retries = 3,
    .enable_auto_handshake = false,
    .event_cb = NULL,
    .event_user = NULL,
  };

  uproto_init(&proto_ctx, &port_ops, &time_ops, &cfg);
}

/* USER CODE END 4 */

void HAL_TIM_PeriodElapsedCallback(TIM_HandleTypeDef *htim)
{
  /* USER CODE BEGIN Callback 0 */
	if (htim->Instance == TIM6)
	{
		Beep_Task();
  }
  /* USER CODE END Callback 0 */
  if (htim->Instance == TIM23)
  {
    HAL_IncTick();
  }
  /* USER CODE BEGIN Callback 1 */
	if (htim->Instance == TIM24)
	{
		tim24_timebase_on_overflow();
	}

  /* USER CODE END Callback 1 */
}

void Error_Handler(void)
{
  __disable_irq();
  while (1)
  {
  }
}
